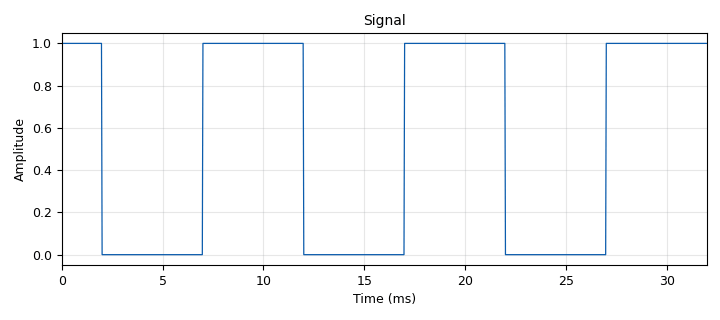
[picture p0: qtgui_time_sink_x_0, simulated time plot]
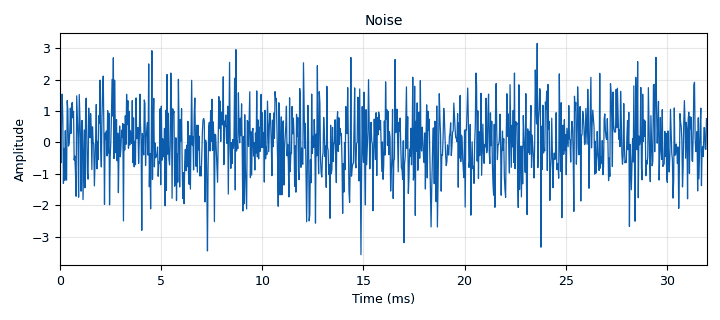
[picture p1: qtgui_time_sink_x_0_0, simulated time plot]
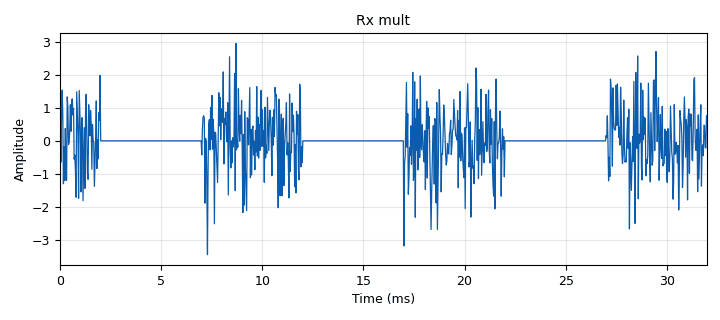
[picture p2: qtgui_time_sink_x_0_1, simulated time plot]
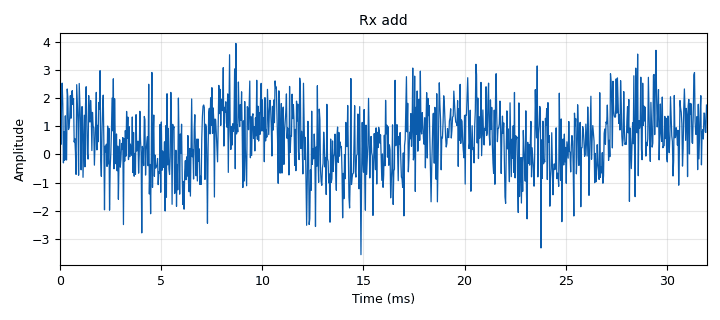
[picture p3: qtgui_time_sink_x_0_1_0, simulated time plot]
options:
  parameters:
    generate_options: qt_gui
    id: Test_1
    output_language: python
    title: Not titled yet
  states: {}

blocks:
- name: samp_rate
  id: variable
  parameters:
    value: '32000'
  states: {}
- name: ErTools_BitErrorRate_0
  id: ErTools_BitErrorRate
  parameters:
    EbN0max: '16'
    EbN0min: '0'
    N: '8'
    Rb: '1'
    fvz: '8'
  states: {}
- name: analog_noise_source_x_0
  id: analog_noise_source_x
  parameters:
    amp: '1'
    noise_type: analog.GR_GAUSSIAN
    seed: '0'
    type: float
  states: {}
- name: analog_sig_source_x_0
  id: analog_sig_source_x
  parameters:
    amp: '1'
    freq: '100'
    offset: '0'
    phase: '0'
    samp_rate: samp_rate
    type: float
    waveform: analog.GR_SQR_WAVE
  states: {}
- name: blocks_add_xx_0
  id: blocks_add_xx
  parameters:
    type: float
  states: {}
- name: blocks_multiply_xx_0
  id: blocks_multiply_xx
  parameters:
    type: float
  states: {}
- name: blocks_null_sink_0
  id: blocks_null_sink
  parameters:
    type: float
  states: {}
- name: blocks_null_sink_0_0
  id: blocks_null_sink
  parameters:
    type: complex
  states: {}
- name: blocks_null_source_0
  id: blocks_null_source
  parameters:
    type: complex
  states: {}
- name: blocks_null_source_0_0
  id: blocks_null_source
  parameters:
    type: byte
  states: {}
- name: blocks_null_source_0_0_0
  id: blocks_null_source
  parameters:
    type: byte
  states: {}
- name: blocks_throttle2_1
  id: blocks_throttle2
  parameters:
    samples_per_second: samp_rate
    type: float
  states: {}
- name: blocks_throttle2_1_0
  id: blocks_throttle2
  parameters:
    samples_per_second: samp_rate
    type: float
  states: {}
- name: qtgui_bercurve_sink_0
  id: qtgui_bercurve_sink
  parameters:
    berlimit: '-7.0'
    berminerrors: '100'
  states: {}
- name: qtgui_time_sink_x_0
  id: qtgui_time_sink_x
  parameters:
    autoscale: 'True'
    grid: 'True'
    name: '"Signal"'
    size: '1024'
    srate: samp_rate
    type: float
    update_time: '2'
    ymax: '2'
    ymin: '-2'
  states: {}
- name: qtgui_time_sink_x_0_0
  id: qtgui_time_sink_x
  parameters:
    autoscale: 'True'
    color1: red
    grid: 'True'
    name: '"Noise"'
    size: '1024'
    srate: samp_rate
    type: float
    update_time: '2'
    ymax: '2'
    ymin: '-2'
  states: {}
- name: qtgui_time_sink_x_0_1
  id: qtgui_time_sink_x
  parameters:
    autoscale: 'True'
    color1: green
    grid: 'True'
    name: '"Rx mult"'
    size: '1024'
    srate: samp_rate
    type: float
    update_time: '2'
    ymax: '3'
    ymin: '-3'
  states: {}
- name: qtgui_time_sink_x_0_1_0
  id: qtgui_time_sink_x
  parameters:
    autoscale: 'True'
    color1: green
    grid: 'True'
    name: '"Rx add"'
    size: '1024'
    srate: samp_rate
    type: float
    update_time: '2'
    ymax: '3'
    ymin: '-3'
  states: {}
- name: virtual_sink_0
  id: virtual_sink
  parameters:
    stream_id: n(t)
  states: {}
- name: virtual_sink_1
  id: virtual_sink
  parameters:
    stream_id: x(t)
  states: {}
- name: virtual_source_0
  id: virtual_source
  parameters:
    stream_id: x(t)
  states: {}
- name: virtual_source_0_0
  id: virtual_source
  parameters:
    stream_id: n(t)
  states: {}
- name: virtual_source_0_0_0
  id: virtual_source
  parameters:
    stream_id: n(t)
  states: {}
- name: virtual_source_0_0_0_0
  id: virtual_source
  parameters:
    stream_id: n(t)
  states: {}
- name: virtual_source_0_1
  id: virtual_source
  parameters:
    stream_id: x(t)
  states: {}
- name: virtual_source_0_1_0
  id: virtual_source
  parameters:
    stream_id: x(t)
  states: {}

connections:
- [ErTools_BitErrorRate_0, '0', blocks_null_sink_0_0, '0']
- [ErTools_BitErrorRate_0, '1', blocks_null_sink_0, '0']
- [analog_noise_source_x_0, '0', blocks_throttle2_1_0, '0']
- [analog_sig_source_x_0, '0', blocks_throttle2_1, '0']
- [blocks_add_xx_0, '0', qtgui_time_sink_x_0_1_0, '0']
- [blocks_multiply_xx_0, '0', qtgui_time_sink_x_0_1, '0']
- [blocks_null_source_0, '0', ErTools_BitErrorRate_0, '0']
- [blocks_null_source_0_0, '0', ErTools_BitErrorRate_0, '1']
- [blocks_null_source_0_0_0, '0', ErTools_BitErrorRate_0, '2']
- [blocks_throttle2_1, '0', virtual_sink_1, '0']
- [blocks_throttle2_1_0, '0', virtual_sink_0, '0']
- [virtual_source_0, '0', qtgui_time_sink_x_0, '0']
- [virtual_source_0_0, '0', qtgui_time_sink_x_0_0, '0']
- [virtual_source_0_0_0, '0', blocks_multiply_xx_0, '1']
- [virtual_source_0_0_0_0, '0', blocks_add_xx_0, '1']
- [virtual_source_0_1, '0', blocks_multiply_xx_0, '0']
- [virtual_source_0_1_0, '0', blocks_add_xx_0, '0']

metadata:
  file_format: 1
  grc_version: 3.10.9.2
